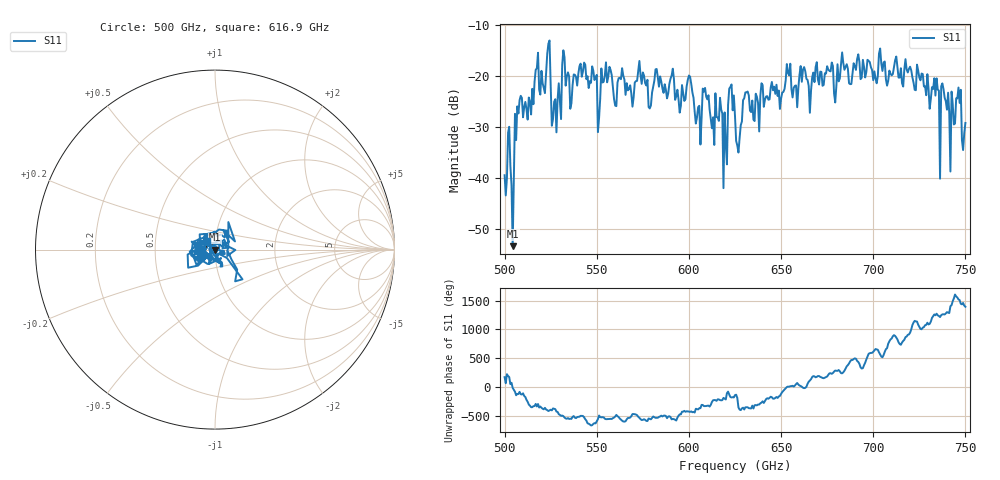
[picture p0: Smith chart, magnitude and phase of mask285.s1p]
!Created with skrf (http://scikit-rf.org).
# GHz S MA R 50.0
!freq magS11 angS11
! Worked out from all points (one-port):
!   401 points, 500 GHz to 750 GHz, reference 50 ohm
!   lowest |S11| = -53.3 dB at 504.4 GHz (marker M1), VSWR 1.00, Z = 50.2 - j0.0568 ohm
!   |S11| at or under -10 dB: start of sweep to end of sweep
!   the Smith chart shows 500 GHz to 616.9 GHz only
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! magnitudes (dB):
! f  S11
! 500 GHz  -39.4
! 502.5 GHz  -29.9
! 504.4 GHz  -53.3
! 508.1 GHz  -24.7
! 523.8 GHz  -13.6
! 526.9 GHz  -25.0
! 531.2 GHz  -17.7
! 548.8 GHz  -20.7
! 550.6 GHz  -30.9
! 562.5 GHz  -20.3
! 590.6 GHz  -19.8
! 593.8 GHz  -22.6
! 600 GHz  -19.8
! 605 GHz  -26.0
! 608.8 GHz  -22.3
! 612.5 GHz  -30.2
! 616.9 GHz  -24.2
! 619.4 GHz  -27.1
! 623.1 GHz  -21.6
! 625 GHz  -27.8
! 626.9 GHz  -35.0
! 630.6 GHz  -23.1
! 656.2 GHz  -24.1
! 687.5 GHz  -21.5
! 718.8 GHz  -19.2
! 743.1 GHz  -25.4
! 746.2 GHz  -22.2
! 750 GHz  -29.1
